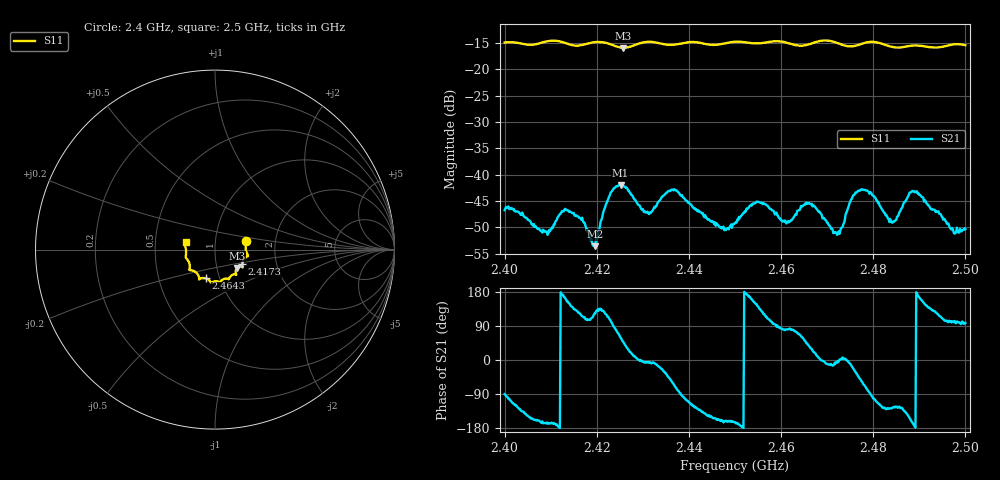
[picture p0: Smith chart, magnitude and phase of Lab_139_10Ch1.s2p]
# Hz S RI R 50
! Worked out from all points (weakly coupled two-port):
!   601 points, 2.4 GHz to 2.5 GHz, reference 50 ohm
!   highest |S21| = -41.98 dB at 2.4252 GHz (marker M1); lowest = -53.6 dB at 2.4197 GHz (marker M2)
!   lowest |S11| = -15.9 dB at 2.4257 GHz (marker M3), VSWR 1.38, Z = 62.5 - j13.1 ohm
!   |S11| at or under -10 dB: start of sweep to end of sweep
!   S12 and S22 are empty: the file has one direction only
!   S11 on the Smith chart (normalised r, x): 2.4 GHz: 1.41, +0.14; 2.4173 GHz: 1.34, -0.23; 2.4643 GHz: 0.86, -0.28; 2.5 GHz: 0.72, +0.06
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2.4e9  0.173 0.049  -6e-06 -0.00461  0 0  0 0
2.409e9  0.1817 -0.0287  -0.00277 -0.000717  0 0  0 0
2.412833e9  0.1753 -0.0411  -0.00438 0.00102  0 0  0 0
2.416667e9  0.1527 -0.0745  -0.00171 0.00332  0 0  0 0
2.417333e9  0.1519 -0.0819  -0.00139 0.00322  0 0  0 0
2.419667e9  0.1535 -0.0975  -0.00113 0.00177  0 0  0 0
2.422667e9  0.1477 -0.094  -0.00209 0.00584  0 0  0 0
2.425167e9  0.1271 -0.099  0.00413 0.00681  0 0  0 0
2.425667e9  0.1232 -0.1024  0.0052 0.00594  0 0  0 0
2.430667e9  0.1184 -0.1385  0.00435 -0.000412  0 0  0 0
2.433333e9  0.1129 -0.1375  0.00529 -0.00148  0 0  0 0
2.436833e9  0.0879 -0.1476  0.00286 -0.0067  0 0  0 0
2.45e9  0.0288 -0.1811  -0.00334 -0.000948  0 0  0 0
2.454667e9  0.00462 -0.1764  -0.00468 0.00298  0 0  0 0
2.461167e9  -0.027 -0.1775  0.00054 0.0034  0 0  0 0
2.464333e9  -0.0498 -0.1604  0.0023 0.00451  0 0  0 0
2.466667e9  -0.0759 -0.1593  0.00465 0.00257  0 0  0 0
2.472333e9  -0.089 -0.1535  0.00272 -0.000312  0 0  0 0
2.477833e9  -0.1342 -0.115  0.00313 -0.00644  0 0  0 0
2.483333e9  -0.1406 -0.0898  -0.00237 -0.00299  0 0  0 0
2.489e9  -0.1625 -0.0456  -0.0068 -0.000496  0 0  0 0
2.5e9  -0.1641 0.0426  -0.000408 0.00302  0 0  0 0
